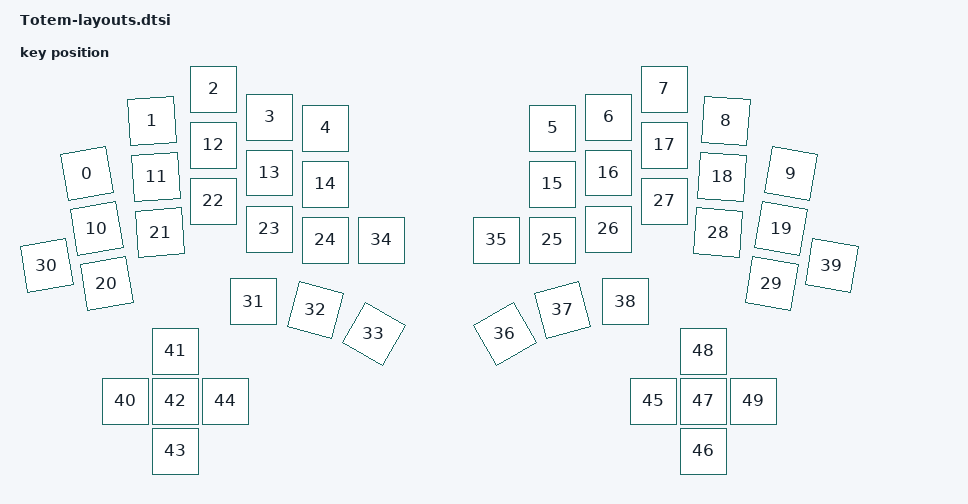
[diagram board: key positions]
#include <physical_layouts.dtsi>

/ {
    physical_layout: physical_layout_0 {
        compatible = "zmk,physical-layout";
        display-name = "Totem";

        // kscan = <&kscan0>;
        // transform = <&matrix_transform0>;

        studio-config {
        compatible = "zmk,studio-config";
        };

        keys  //                     w   h    x    y     rot    rx    ry
            = <&key_physical_attrs 100 100   81  169 (-1000)   131   219>
            , <&key_physical_attrs 100 100  211   64  (-400)   261   114>
            , <&key_physical_attrs 100 100  334    0       0     0     0>
            , <&key_physical_attrs 100 100  446   56       0     0     0>
            , <&key_physical_attrs 100 100  558   78       0     0     0>
            , <&key_physical_attrs 100 100 1012   78       0     0     0>
            , <&key_physical_attrs 100 100 1124   56       0     0     0>
            , <&key_physical_attrs 100 100 1235    0       0     0     0>
            , <&key_physical_attrs 100 100 1358   64     400  1408   114>
            , <&key_physical_attrs 100 100 1489  169    1000  1539   219>
            , <&key_physical_attrs 100 100  100  279 (-1000)   150   329>
            , <&key_physical_attrs 100 100  219  176  (-400)   269   226>
            , <&key_physical_attrs 100 100  334  112       0     0     0>
            , <&key_physical_attrs 100 100  446  168       0     0     0>
            , <&key_physical_attrs 100 100  558  190       0     0     0>
            , <&key_physical_attrs 100 100 1012  190       0     0     0>
            , <&key_physical_attrs 100 100 1124  168       0     0     0>
            , <&key_physical_attrs 100 100 1235  112       0     0     0>
            , <&key_physical_attrs 100 100 1351  176     400  1401   226>
            , <&key_physical_attrs 100 100 1469  279    1000  1519   329>
            , <&key_physical_attrs 100 100  120  389 (-1000)   170   439>
            , <&key_physical_attrs 100 100  227  287  (-400)   277   337>
            , <&key_physical_attrs 100 100  334  224       0     0     0>
            , <&key_physical_attrs 100 100  446  280       0     0     0>
            , <&key_physical_attrs 100 100  558  302       0     0     0>
            , <&key_physical_attrs 100 100 1012  302       0     0     0>
            , <&key_physical_attrs 100 100 1124  280       0     0     0>
            , <&key_physical_attrs 100 100 1235  224       0     0     0>
            , <&key_physical_attrs 100 100 1343  287     400  1393   337>
            , <&key_physical_attrs 100 100 1450  389    1000  1500   439>
            , <&key_physical_attrs 100 100    0  353 (-1000)    50   403>
            , <&key_physical_attrs 100 100  413  425       0     0     0>
            , <&key_physical_attrs 100 100  538  442    1500   588   492>
            , <&key_physical_attrs 100 100  654  490    3000   704   540>
            , <&key_physical_attrs 100 100  670  302       0     0     0>
            , <&key_physical_attrs 100 100  900  302       0     0     0>
            , <&key_physical_attrs 100 100  916  490 (-3000)   966   540>
            , <&key_physical_attrs 100 100 1032  442 (-1500)  1082   492>
            , <&key_physical_attrs 100 100 1157  425       0     0     0>
            , <&key_physical_attrs 100 100 1570  353    1000  1620   403>
            , <&key_physical_attrs 100 100  157  624       0     0     0>
            , <&key_physical_attrs 100 100  257  524       0     0     0>
            , <&key_physical_attrs 100 100  257  624       0     0     0>
            , <&key_physical_attrs 100 100  257  724       0     0     0>
            , <&key_physical_attrs 100 100  357  624       0     0     0>
            , <&key_physical_attrs 100 100 1213  624       0     0     0>
            , <&key_physical_attrs 100 100 1313  724       0     0     0>
            , <&key_physical_attrs 100 100 1313  624       0     0     0>
            , <&key_physical_attrs 100 100 1313  524       0     0     0>
            , <&key_physical_attrs 100 100 1413  624       0     0     0>
            ;
    };
};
